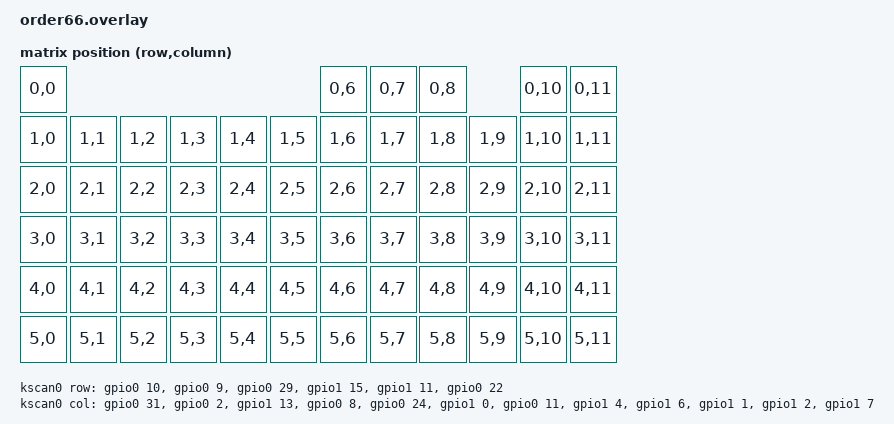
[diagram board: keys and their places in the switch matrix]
/*
 * Copyright (c) 2021 The ZMK Contributors
 *
 * SPDX-License-Identifier: MIT
 */

#include <dt-bindings/zmk/matrix_transform.h>

/ {
    &layouts_order66_position_map {
    layout_order66_posmap: layout_order66 {
        physical-layout = <&layout_order66>;
        positions
            = < 0                 6  7  8    10 11>
            , <12 13 14 15 16 17 18 19 20 21 22 23>
            , <24 25 26 27 28 29 30 31 32 33 34 35>
            , <36 37 38 39 40 41 42 43 44 45 46 47>
            , <48 49 50 51 52 53 54 55 56 57 58 59>
            , <60 61 62 63 64 65 66 67 68 69 70 71>
            ;
    };

    layout_order66: layout_order66 {
        compatible = "zmk,physical-layout";
        display-name = "66 key ortho 1u grid (6x12 - 6)"

        keys  //                     w   h    x    y     rot    rx    ry
            = <&key_physical_attrs 100 100    0    0       0     0     0>
            , <&key_physical_attrs 100 100  600    0       0     0     0>
            , <&key_physical_attrs 100 100  700    0       0     0     0>
            , <&key_physical_attrs 100 100  800    0       0     0     0>
            , <&key_physical_attrs 100 100 1000    0       0     0     0>
            , <&key_physical_attrs 100 100 1100    0       0     0     0>
            , <&key_physical_attrs 100 100    0  100       0     0     0>
            , <&key_physical_attrs 100 100  100  100       0     0     0>
            , <&key_physical_attrs 100 100  200  100       0     0     0>
            , <&key_physical_attrs 100 100  300  100       0     0     0>
            , <&key_physical_attrs 100 100  400  100       0     0     0>
            , <&key_physical_attrs 100 100  500  100       0     0     0>
            , <&key_physical_attrs 100 100  600  100       0     0     0>
            , <&key_physical_attrs 100 100  700  100       0     0     0>
            , <&key_physical_attrs 100 100  800  100       0     0     0>
            , <&key_physical_attrs 100 100  900  100       0     0     0>
            , <&key_physical_attrs 100 100 1000  100       0     0     0>
            , <&key_physical_attrs 100 100 1100  100       0     0     0>
            , <&key_physical_attrs 100 100    0  200       0     0     0>
            , <&key_physical_attrs 100 100  100  200       0     0     0>
            , <&key_physical_attrs 100 100  200  200       0     0     0>
            , <&key_physical_attrs 100 100  300  200       0     0     0>
            , <&key_physical_attrs 100 100  400  200       0     0     0>
            , <&key_physical_attrs 100 100  500  200       0     0     0>
            , <&key_physical_attrs 100 100  600  200       0     0     0>
            , <&key_physical_attrs 100 100  700  200       0     0     0>
            , <&key_physical_attrs 100 100  800  200       0     0     0>
            , <&key_physical_attrs 100 100  900  200       0     0     0>
            , <&key_physical_attrs 100 100 1000  200       0     0     0>
            , <&key_physical_attrs 100 100 1100  200       0     0     0>
            , <&key_physical_attrs 100 100    0  300       0     0     0>
            , <&key_physical_attrs 100 100  100  300       0     0     0>
            , <&key_physical_attrs 100 100  200  300       0     0     0>
            , <&key_physical_attrs 100 100  300  300       0     0     0>
            , <&key_physical_attrs 100 100  400  300       0     0     0>
            , <&key_physical_attrs 100 100  500  300       0     0     0>
            , <&key_physical_attrs 100 100  600  300       0     0     0>
            , <&key_physical_attrs 100 100  700  300       0     0     0>
            , <&key_physical_attrs 100 100  800  300       0     0     0>
            , <&key_physical_attrs 100 100  900  300       0     0     0>
            , <&key_physical_attrs 100 100 1000  300       0     0     0>
            , <&key_physical_attrs 100 100 1100  300       0     0     0>
            , <&key_physical_attrs 100 100    0  400       0     0     0>
            , <&key_physical_attrs 100 100  100  400       0     0     0>
            , <&key_physical_attrs 100 100  200  400       0     0     0>
            , <&key_physical_attrs 100 100  300  400       0     0     0>
            , <&key_physical_attrs 100 100  400  400       0     0     0>
            , <&key_physical_attrs 100 100  500  400       0     0     0>
            , <&key_physical_attrs 100 100  600  400       0     0     0>
            , <&key_physical_attrs 100 100  700  400       0     0     0>
            , <&key_physical_attrs 100 100  800  400       0     0     0>
            , <&key_physical_attrs 100 100  900  400       0     0     0>
            , <&key_physical_attrs 100 100 1000  400       0     0     0>
            , <&key_physical_attrs 100 100 1100  400       0     0     0>
            , <&key_physical_attrs 100 100    0  500       0     0     0>
            , <&key_physical_attrs 100 100  100  500       0     0     0>
            , <&key_physical_attrs 100 100  200  500       0     0     0>
            , <&key_physical_attrs 100 100  300  500       0     0     0>
            , <&key_physical_attrs 100 100  400  500       0     0     0>
            , <&key_physical_attrs 100 100  500  500       0     0     0>
            , <&key_physical_attrs 100 100  600  500       0     0     0>
            , <&key_physical_attrs 100 100  700  500       0     0     0>
            , <&key_physical_attrs 100 100  800  500       0     0     0>
            , <&key_physical_attrs 100 100  900  500       0     0     0>
            , <&key_physical_attrs 100 100 1000  500       0     0     0>
            , <&key_physical_attrs 100 100 1100  500       0     0     0>
            ;

    };
    chosen {
        zmk,kscan = &kscan0;
        zmk,physical-layout = &layout_order66;
    };

    matrix_transform_50_all1u: keymap_transform_0 {
        compatible = "zmk,matrix-transform";
        columns = <12>;
        rows = <6>;
        map = <
            RC(0,0)                                         RC(0,6) RC(0,7) RC(0,8)         RC(0,10) RC(0,11)
            RC(1,0) RC(1,1) RC(1,2) RC(1,3) RC(1,4) RC(1,5) RC(1,6) RC(1,7) RC(1,8) RC(1,9) RC(1,10) RC(1,11)
            RC(2,0) RC(2,1) RC(2,2) RC(2,3) RC(2,4) RC(2,5) RC(2,6) RC(2,7) RC(2,8) RC(2,9) RC(2,10) RC(2,11)
            RC(3,0) RC(3,1) RC(3,2) RC(3,3) RC(3,4) RC(3,5) RC(3,6) RC(3,7) RC(3,8) RC(3,9) RC(3,10) RC(3,11)
            RC(4,0) RC(4,1) RC(4,2) RC(4,3) RC(4,4) RC(4,5) RC(4,6) RC(4,7) RC(4,8) RC(4,9) RC(4,10) RC(4,11)
            RC(5,0) RC(5,1) RC(5,2) RC(5,3) RC(5,4) RC(5,5) RC(5,6) RC(5,7) RC(5,8) RC(5,9) RC(5,10) RC(5,11)
            >;
    };

    kscan0: kscan {
        compatible = "zmk,kscan-gpio-matrix";
        wakeup-source;

        diode-direction = "col2row";

        row-gpios
            = <&gpio0 10 (GPIO_ACTIVE_HIGH | GPIO_PULL_DOWN)> // row 0
            , <&gpio0 9  (GPIO_ACTIVE_HIGH | GPIO_PULL_DOWN)> // row 1
            , <&gpio0 29 (GPIO_ACTIVE_HIGH | GPIO_PULL_DOWN)> // row 2
            , <&gpio1 15 (GPIO_ACTIVE_HIGH | GPIO_PULL_DOWN)> // row 3
            , <&gpio1 11 (GPIO_ACTIVE_HIGH | GPIO_PULL_DOWN)> // row 4
            , <&gpio0 22 (GPIO_ACTIVE_HIGH | GPIO_PULL_DOWN)> // row 5
            ;

        col-gpios
            = <&gpio0 31 GPIO_ACTIVE_HIGH> // col0
            , <&gpio0 2  GPIO_ACTIVE_HIGH> // col1
            , <&gpio1 13 GPIO_ACTIVE_HIGH> // col2
            , <&gpio0 8  GPIO_ACTIVE_HIGH> // col3
            , <&gpio0 24 GPIO_ACTIVE_HIGH> // col4
            , <&gpio1 0  GPIO_ACTIVE_HIGH> // col5
            , <&gpio0 11 GPIO_ACTIVE_HIGH> // col6
            , <&gpio1 4  GPIO_ACTIVE_HIGH> // col7
            , <&gpio1 6  GPIO_ACTIVE_HIGH> // col8
            , <&gpio1 1  GPIO_ACTIVE_HIGH> // col9
            , <&gpio1 2  GPIO_ACTIVE_HIGH> // col10
            , <&gpio1 7  GPIO_ACTIVE_HIGH> // col11
            ;
    };
};

&layout_ortho_5x12_all1u {
    transform = <&matrix_transform_50_all1u>;
};
